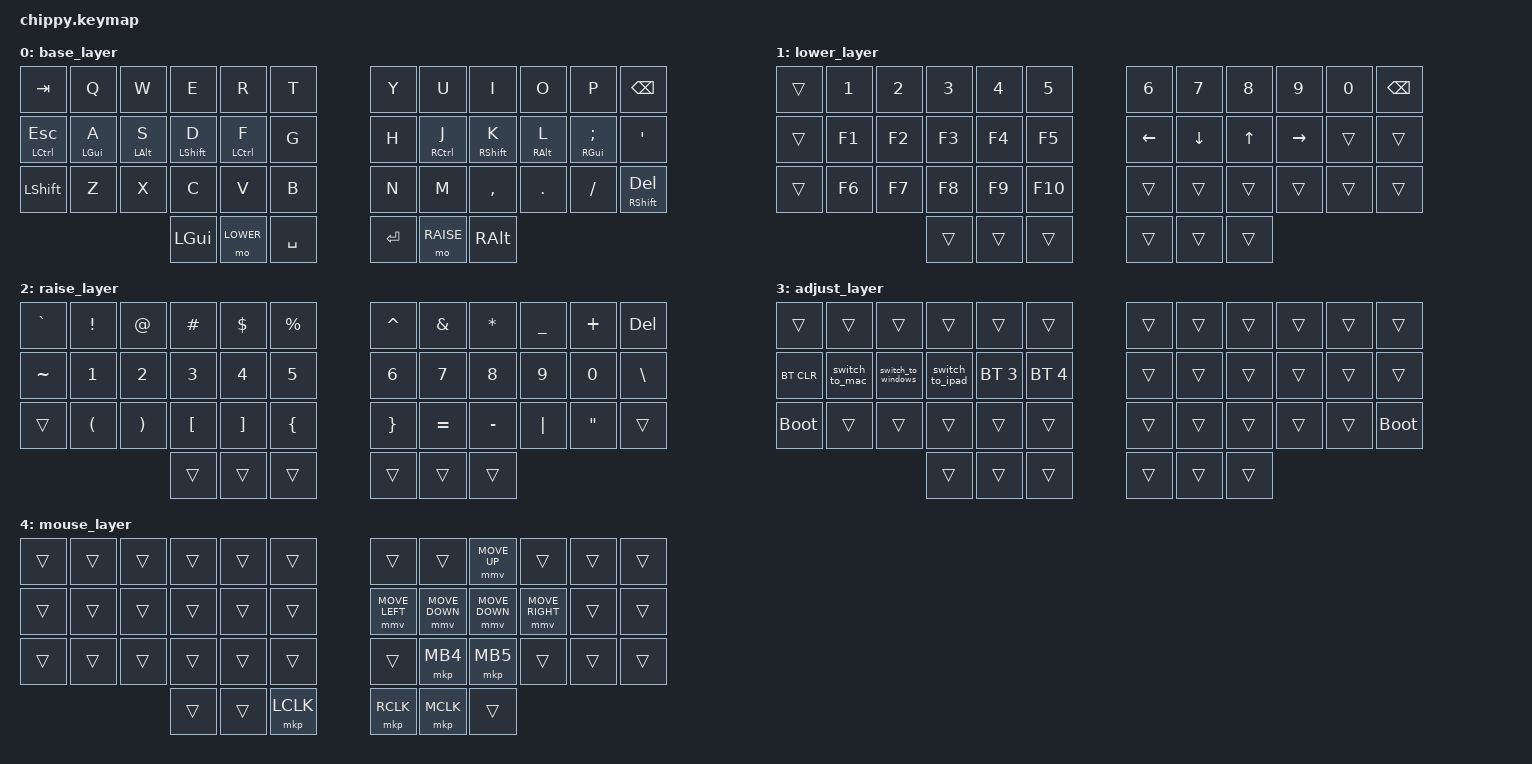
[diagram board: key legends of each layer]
/*
 * Copyright (c) 2020 The ZMK Contributors
 *
 * SPDX-License-Identifier: MIT
 */

#include <behaviors.dtsi>
#include <dt-bindings/zmk/keys.h>
#include <dt-bindings/zmk/bt.h>
#include <dt-bindings/zmk/mouse.h>


#define BASE    0
#define LOWER   1
#define RAISE   2
#define ADJUST  3
#define MOUSE   4

#define LT0  5  // left-top row
#define LT1  4
#define LT2  3
#define LT3  2
#define LT4  1
#define LT5  0

#define RT0  6  // right-top row
#define RT1  7
#define RT2  8
#define RT3  9
#define RT4 10
#define RT5 11

#define LM0 17  // left-middle row
#define LM1 16
#define LM2 15
#define LM3 14
#define LM4 13
#define LM5 12

#define RM0 18  // right-middle row
#define RM1 19
#define RM2 20
#define RM3 21
#define RM4 22
#define RM5 23

#define LB0 29  // left-bottom row
#define LB1 28
#define LB2 27
#define LB3 26
#define LB4 25
#define LB5 24

#define RB0 30  // right-bottom row
#define RB1 31
#define RB2 32
#define RB3 33
#define RB4 34
#define RB5 35

#define LH0 38  // left thumb keys
#define LH1 37
#define LH2 36

#define RH0 39  // right thumb keys
#define RH1 40
#define RH2 41


/ {
        conditional_layers {
                compatible = "zmk,conditional-layers";
                        tri_layer {
                        if-layers = <LOWER RAISE>;
                        then-layer = <ADJUST>;
                };
        };

        macros {
                ZMK_MACRO(switch_to_mac, bindings= <&bt BT_SEL 0>;)
                ZMK_MACRO(switch_to_ipad, bindings= <&bt BT_SEL 2>;)
                ZMK_MACRO(switch_to_windows, bindings= <&bt BT_SEL 1>;)

                win_app_sw: win_app_sw {
                        label = "WINDOWS_APP_SWITCHER";
                        compatible = "zmk,behavior-macro";
                        #binding-cells = <0>;
                        bindings
                                = <&macro_press &kp LALT>
                                , <&macro_tap &kp TAB>
                                , <&macro_press &mo LOWER>
                                , <&macro_pause_for_release>
                                , <&macro_release &mo LOWER>
                                , <&macro_release &kp LALT>
                                ;
                };     

                mac_app_sw: mac_app_sw {
                        label = "MAC_APP_SWITCHER";
                        compatible = "zmk,behavior-macro";
                        #binding-cells = <0>;
                        bindings
                                = <&macro_press &kp LGUI>
                                , <&macro_tap &kp TAB>
                                , <&macro_press &mo LOWER>
                                , <&macro_pause_for_release>
                                , <&macro_release &mo LOWER>
                                , <&macro_release &kp LGUI>
                                ;
                };  
        };

        combos {
                compatible = "zmk,combos";
                combo_spotlight {         
                        timeout-ms = <20>;
                        key-positions = <LH0 RH0>;
                        bindings = <&kp LG(SPACE)>;
                };

                combo_app_switcher {         
                        timeout-ms = <20>;
                        key-positions = <LM4 LM3 LM2 LM1>;
                        bindings = <&kp LG(TAB)>;
                };

                combo_copy {         
                        timeout-ms = <20>;
                        key-positions = <LB3 LB2>;
                        bindings = <&kp LG(C)>;
                };
                combo_paste {         
                        timeout-ms = <20>;
                        key-positions = <LB2 LB1>;
                        bindings = <&kp LG(V)>;
                };
                combo_cut {         
                        timeout-ms = <20>;
                        key-positions = <LB3 LB1>;
                        bindings = <&kp LG(X)>;
                };
                combo_undo {         
                        timeout-ms = <20>;
                        key-positions = <LB4 LB3>;
                        bindings = <&kp LG(Z)>;
                };
                combo_select_all {         
                        timeout-ms = <20>;
                        key-positions = <LM4 LM1>;
                        bindings = <&kp LG(A)>;
                };
                combo_save {         
                        timeout-ms = <20>;
                        key-positions = <LM4 LM3>;
                        bindings = <&kp LG(S)>;
                };
                combo_find {         
                        timeout-ms = <20>;
                        key-positions = <LM2 LM1>;
                        bindings = <&kp LG(F)>;
                };
                combo_close_window {
                        timeout-ms = <20>;
                        key-positions = <LT3 LT1>;
                        bindings = <&kp LG(W)>;
                };

                combo_mouse_layer {         
                        timeout-ms = <25>;
                        key-positions = <LH1 RH1>;
                        bindings = <&mo MOUSE>;
                };
        };                      

        keymap {
                compatible = "zmk,keymap";

                base_layer {
                        bindings = <
   &kp TAB           &kp Q &kp W &kp E &kp R &kp T   &kp Y &kp U  &kp I     &kp O   &kp P    &kp BSPC
   &mt LCTRL ESC     &mt LGUI A &mt LALT S &mt LSHFT D &mt LCTRL F &kp G   &kp H &mt RCTRL J &mt RSHFT K &mt RALT L &mt RGUI SEMI &kp SQT
   &kp LSHFT         &kp Z &kp X &kp C &kp V &kp B   &kp N &kp M  &kp COMMA &kp DOT &kp FSLH &mt RSHFT DEL
                      &kp LGUI &mo LOWER &kp SPACE   &kp RET &mo RAISE &kp RALT
                        >;      
                };

                lower_layer {
                        bindings = <
   &trans  &kp N1 &kp N2 &kp N3 &kp N4 &kp N5   &kp N6   &kp N7   &kp N8 &kp N9    &kp N0 &kp BSPC
   &trans  &kp F1 &kp F2 &kp F3 &kp F4 &kp F5   &kp LEFT &kp DOWN &kp UP &kp RIGHT &trans &trans
   &trans  &kp F6 &kp F7 &kp F8 &kp F9 &kp F10  &trans   &trans   &trans &trans    &trans &trans
                         &trans &trans &trans   &trans   &trans   &trans
                        >;
                };

                raise_layer {
                        bindings = <
   &kp GRAVE &kp EXCL &kp AT &kp HASH &kp DLLR &kp PRCNT   &kp CARET &kp AMPS &kp ASTRK &kp UNDER &kp PLUS  &kp DEL
   &kp TILDE &kp N1   &kp N2 &kp N3   &kp N4   &kp N5      &kp N6    &kp N7   &kp N8    &kp N9    &kp N0    &kp BSLH
   &trans    &kp LPAR &kp RPAR &kp LBKT &kp RBKT &kp LBRC  &kp RBRC  &kp EQUAL &kp MINUS &kp PIPE &kp DQT   &trans
                             &trans   &trans   &trans      &trans    &trans    &trans
                        >;
                };
       
                adjust_layer {
                        bindings = <
   &trans       &trans          &trans              &trans          &trans       &trans         &trans &trans &trans &trans &trans &trans
   &bt BT_CLR   &switch_to_mac  &switch_to_windows  &switch_to_ipad &bt BT_SEL 3 &bt BT_SEL 4   &trans &trans &trans &trans &trans &trans
   &bootloader  &trans          &trans              &trans          &trans       &trans         &trans &trans &trans &trans &trans &bootloader
                                                    &trans          &trans       &trans         &trans &trans &trans
                        >;
                };
                
                mouse_layer {
                        bindings = <
   &trans  &trans &trans &trans &trans &trans      &trans   &trans        &mmv MOVE_UP   &trans         &trans &trans
   &trans  &trans &trans &trans &trans &trans      &mmv MOVE_LEFT &mmv MOVE_DOWN &mmv MOVE_DOWN &mmv MOVE_RIGHT &trans &trans  
   &trans  &trans &trans &trans &trans &trans      &trans   &mkp MB4      &mkp MB5       &trans         &trans &trans
                         &trans &trans &mkp LCLK   &mkp RCLK &mkp MCLK &trans
                        >;
                };       
        }; 
};
